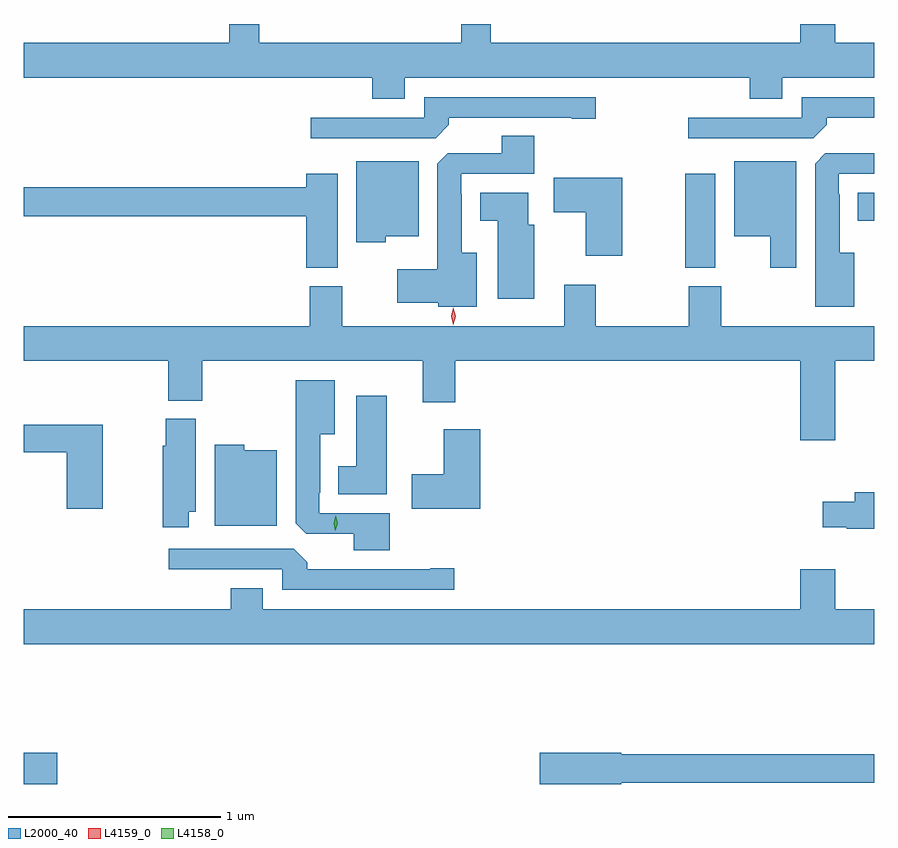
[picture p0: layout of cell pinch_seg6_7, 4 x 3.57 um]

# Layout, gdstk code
import gdstk
lib = gdstk.Library(unit=1e-6, precision=1e-09)
def R(c, l, rs):  # rectangles x0, y0, x1, y1
    for r in rs: c.add(gdstk.rectangle(r[:2], r[2:], *l))
def P(c, l, *ps):  # polygons
    for p in ps: c.add(gdstk.Polygon(p, *l))
L2000_40 = (2000, 40)
L4158_0 = (4158, 0)
L4159_0 = (4159, 0)

pinch_seg6_7 = lib.new_cell('pinch_seg6_7')
R(pinch_seg6_7, L2000_40, [(1084.432,973.319,1084.591,973.466), (1087.543,975.745,1087.684,976.189), (1088.354,975.968,1088.432,976.099)])
P(pinch_seg6_7, L2000_40, [(1086.223,976.64),(1087.847,976.64),(1087.847,976.541),(1087.999,976.541),(1087.999,976.64),(1088.432,976.64),(1088.432,976.804),(1088.248,976.804),(1088.248,976.892),(1088.084,976.892),(1088.084,976.804),(1086.628,976.804),(1086.628,976.892),(1086.489,976.892),(1086.489,976.804),(1085.539,976.804),(1085.539,976.892),(1085.399,976.892),(1085.399,976.804),(1084.432,976.804),(1084.432,976.64),(1086.071,976.64),(1086.071,976.541),(1086.223,976.541)],
  [(1086.431,976.418),(1086.431,976.452),(1087.01,976.452),(1087.01,976.447),(1087.123,976.447),(1087.123,976.548),(1086.315,976.548),(1086.315,976.452),(1085.781,976.452),(1085.781,976.356),(1086.369,976.356)],
  [(1088.207,976.418),(1088.207,976.452),(1088.432,976.452),(1088.432,976.548),(1088.091,976.548),(1088.091,976.452),(1087.557,976.452),(1087.557,976.356),(1088.145,976.356)],
  [(1086.562,975.817),(1086.493,975.817),(1086.493,976.091),(1086.489,976.091),(1086.489,976.188),(1086.833,976.188),(1086.833,976.367),(1086.68,976.367),(1086.68,976.284),(1086.426,976.284),(1086.377,976.235),(1086.377,975.739),(1086.189,975.739),(1086.189,975.581),(1086.381,975.581),(1086.381,975.563),(1086.562,975.563)],
  [(1088.338,975.817),(1088.269,975.817),(1088.269,976.091),(1088.265,976.091),(1088.265,976.188),(1088.432,976.188),(1088.432,976.284),(1088.202,976.284),(1088.153,976.235),(1088.153,975.563),(1088.338,975.563)],
  [(1088.065,976.246),(1087.772,976.246),(1087.772,975.893),(1087.943,975.893),(1087.943,975.747),(1088.065,975.747)],
  [(1086.135,975.893),(1086.289,975.893),(1086.289,976.246),(1085.996,976.246),(1085.996,975.866),(1086.135,975.866)],
  [(1085.908,976.189),(1085.762,976.189),(1085.762,976.124),(1084.432,976.124),(1084.432,975.988),(1085.762,975.988),(1085.762,975.745),(1085.908,975.745)],
  [(1087.246,976.168),(1086.924,976.168),(1086.924,976.006),(1087.076,976.006),(1087.076,975.803),(1087.246,975.803)],
  [(1086.832,975.948),(1086.805,975.948),(1086.805,976.099),(1086.578,976.099),(1086.578,975.968),(1086.662,975.968),(1086.662,975.6),(1086.832,975.6)],
  [(1088.248,975.308),(1088.432,975.308),(1088.432,975.472),(1087.713,975.472),(1087.713,975.66),(1087.558,975.66),(1087.558,975.472),(1087.122,975.472),(1087.122,975.667),(1086.974,975.667),(1086.974,975.472),(1085.929,975.472),(1085.929,975.66),(1085.777,975.66),(1085.777,975.472),(1084.432,975.472),(1084.432,975.308),(1085.111,975.308),(1085.111,975.121),(1085.271,975.121),(1085.271,975.308),(1086.308,975.308),(1086.308,975.114),(1086.461,975.114),(1086.461,975.308),(1088.084,975.308),(1088.084,974.934),(1088.248,974.934)],
  [(1086.154,974.592),(1085.823,974.592),(1085.823,974.689),(1085.827,974.689),(1085.827,974.963),(1085.896,974.963),(1085.896,975.217),(1085.711,975.217),(1085.711,974.545),(1085.76,974.496),(1085.984,974.496),(1085.984,974.417),(1086.154,974.417)],
  [(1086.139,975.145),(1085.996,975.145),(1085.996,974.812),(1085.912,974.812),(1085.912,974.681),(1086.139,974.681)],
  [(1085.209,974.6),(1085.242,974.6),(1085.242,975.036),(1085.101,975.036),(1085.101,974.91),(1085.087,974.91),(1085.087,974.526),(1085.209,974.526)],
  [(1084.804,975.007),(1084.432,975.007),(1084.432,974.878),(1084.634,974.878),(1084.634,974.613),(1084.804,974.613)],
  [(1086.578,974.986),(1086.407,974.986),(1086.407,974.775),(1086.258,974.775),(1086.258,974.612),(1086.578,974.612)],
  [(1085.623,974.887),(1085.469,974.887),(1085.469,974.914),(1085.33,974.914),(1085.33,974.534),(1085.623,974.534)],
  [(1088.432,974.69),(1088.339,974.69),(1088.339,974.647),(1088.19,974.647),(1088.19,974.525),(1088.302,974.525),(1088.302,974.518),(1088.432,974.518)],
  [(1086.457,974.333),(1086.344,974.333),(1086.344,974.328),(1085.765,974.328),(1085.765,974.362),(1085.703,974.424),(1085.115,974.424),(1085.115,974.328),(1085.649,974.328),(1085.649,974.232),(1086.457,974.232)],
  [(1088.432,974.14),(1088.248,974.14),(1088.248,974.329),(1088.084,974.329),(1088.084,974.14),(1085.557,974.14),(1085.557,974.239),(1085.405,974.239),(1085.405,974.14),(1084.432,974.14),(1084.432,973.976),(1088.432,973.976)],
  [(1087.242,973.324),(1088.432,973.324),(1088.432,973.46),(1087.242,973.46),(1087.242,973.466),(1086.858,973.466),(1086.858,973.319),(1087.242,973.319)])
P(pinch_seg6_7, L4158_0, [(1085.898,974.509),(1085.898,974.509),(1085.889,974.545),(1085.899,974.581),(1085.899,974.581),(1085.899,974.581),(1085.909,974.545),(1085.898,974.509)])
P(pinch_seg6_7, L4159_0, [(1086.453,975.478),(1086.453,975.478),(1086.443,975.518),(1086.453,975.558),(1086.453,975.558),(1086.453,975.558),(1086.463,975.518),(1086.453,975.478)])

lib.write_gds('pinch_seg6_7.gds')
